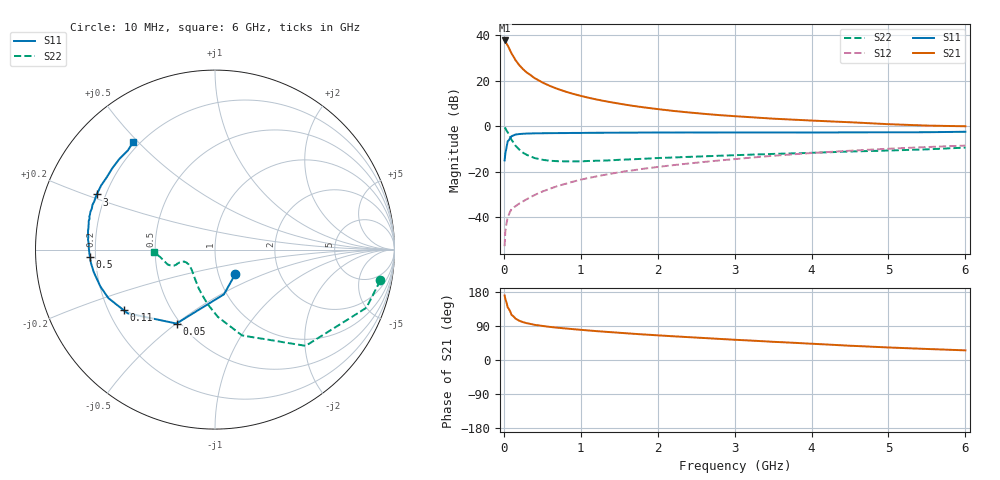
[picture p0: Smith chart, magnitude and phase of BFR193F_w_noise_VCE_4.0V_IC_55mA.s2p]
! (c) 2017  Infineon Technologies AG, Munich
! Infineon Technologies  Discrete & RF Semiconductors
! BFR193F
! VCE =  4.0 V,  IC =  55 mA
! Common Emitter S-Parameters:  Jan 2017
# GHz  S  MA  R  50
!  f  S11  S21  S12  S22
! GHz  MAG  ANG  MAG  ANG  MAG  ANG  MAG  ANG
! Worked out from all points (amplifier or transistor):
!   77 points, 10 MHz to 6 GHz, reference 50 ohm
!   highest |S21| = 37.7 dB at 10 MHz (marker M1)
!   |S21| within 3 dB of that: start of sweep to 61.8 MHz
!   unconditionally stable (mu >= 1): 750.5 MHz to 2.604 GHz
!   at 130 MHz: K = 0.52, MSG = 33.0 dB, |S12| = -35.7 dB
!   at 2.2 GHz: K = 1.01, MAG = 11.2 dB, |S12| = -17.2 dB
!   at 6 GHz: K = 0.87, MSG = 4.2 dB, |S12| = -8.6 dB
!   lowest NFmin = 1.56 dB at 450 MHz
!   S11 on the Smith chart (normalised r, x): 10 MHz: 1.20, -0.34; 50 MHz: 0.48, -0.50; 110 MHz: 0.26, -0.28; 500 MHz: 0.18, -0.03; 3 GHz: 0.17, +0.22; 6 GHz: 0.17, +0.49
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0.01  0.1768 -50.1  76.47 170.5  0.0023 88.6  0.9371 -10.5
0.02  0.2542 -78.7  73.25 160.9  0.005 80.9  0.9038 -21.0
0.05  0.4645 -117.5  59.28 139.1  0.0098 61.0  0.7366 -46.7
0.1  0.6022 -143.9  39.54 119.1  0.0151 54.0  0.5015 -72.5
0.11  0.6102 -146.4  37.25 117.6  0.0155 53.6  0.474 -74.9
0.15  0.6528 -155.6  28.46 109.5  0.0173 52.3  0.375 -87.6
0.2  0.6707 -162.1  21.99 103.6  0.0199 55.2  0.3061 -97.8
0.25  0.6798 -166.7  17.82 99.8  0.0223 57.9  0.2596 -106.5
0.3  0.6873 -169.6  15 97.0  0.0249 60.9  0.2332 -113.1
0.4  0.6951 -173.8  11.35 92.7  0.0306 64.4  0.199 -123.7
0.5  0.6983 -176.7  9.134 89.9  0.0365 67.3  0.1826 -131.4
0.6  0.7013 -179.1  7.646 87.3  0.0421 69.3  0.1734 -137.7
0.7  0.7036 178.8  6.569 85.1  0.0483 70.3  0.1697 -142.0
0.9  0.7097 175.6  5.132 81.4  0.0602 72.7  0.1679 -149.1
1.1  0.7133 172.9  4.216 77.9  0.0725 73.5  0.1716 -152.9
1.5  0.7186 168.2  3.122 71.9  0.0968 74.2  0.1821 -157.9
2.1  0.7244 162.4  2.267 63.9  0.1326 73.5  0.2018 -160.0
3  0.7271 155.0  1.656 53.4  0.1883 71.6  0.2298 -158.8
3.1  0.727 154.1  1.616 52.4  0.1952 71.2  0.2329 -158.8
4.1  0.7259 145.4  1.304 41.9  0.2627 66.6  0.2624 -160.3
5.1  0.734 135.6  1.089 32.3  0.3244 60.8  0.2948 -168.8
6  0.7531 127.1  0.994 25.4  0.3736 55.3  0.3378 -177.6
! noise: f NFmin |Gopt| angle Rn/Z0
0.45  1.56  0.48  -179  0.07
0.9  1.64  0.49  -177  0.08
1.9  2.22  0.6  -163  0.1
2.4  2.54  0.62  -155  0.16
